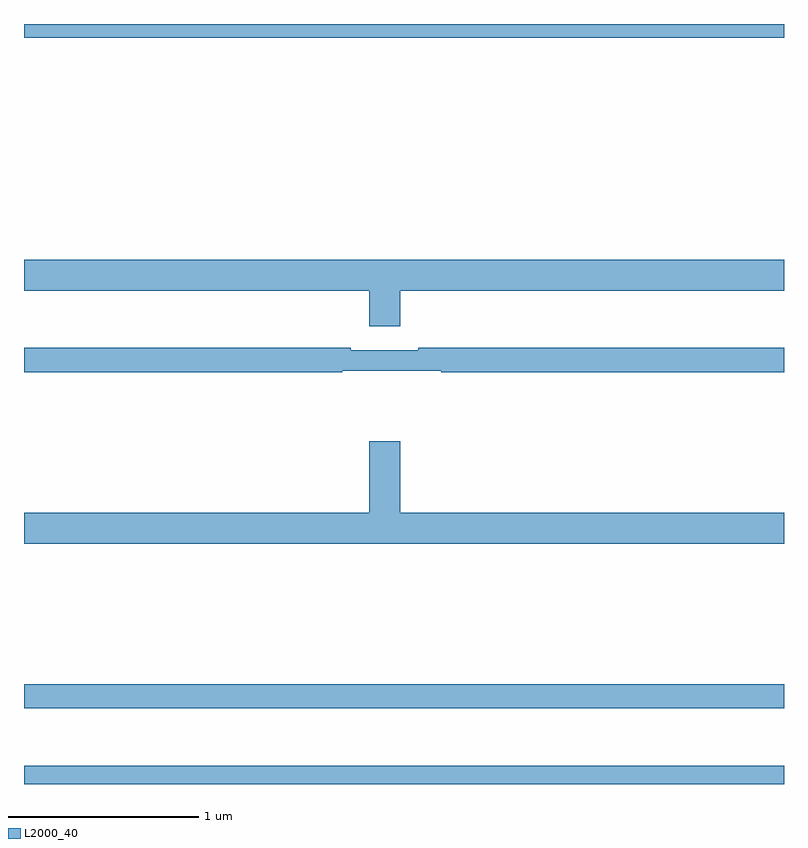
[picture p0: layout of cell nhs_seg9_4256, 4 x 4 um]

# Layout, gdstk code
import gdstk
lib = gdstk.Library(unit=1e-6, precision=1e-09)
def R(c, l, rs):  # rectangles x0, y0, x1, y1
    for r in rs: c.add(gdstk.rectangle(r[:2], r[2:], *l))
def P(c, l, *ps):  # polygons
    for p in ps: c.add(gdstk.Polygon(p, *l))
L2000_40 = (2000, 40)

nhs_seg9_4256 = lib.new_cell('nhs_seg9_4256')
R(nhs_seg9_4256, L2000_40, [(355,1184.5,359,1184.596), (355,1184.898,359,1185.026), (355,1188.428,359,1188.5)])
P(nhs_seg9_4256, L2000_40, [(356.98,1187.096),(359,1187.096),(359,1187.26),(355,1187.26),(355,1187.096),(356.816,1187.096),(356.816,1186.908),(356.98,1186.908)],
  [(356.676,1186.674),(357.196,1186.674),(357.196,1186.666),(359,1186.666),(359,1186.795),(357.076,1186.795),(357.076,1186.782),(356.72,1186.782),(356.72,1186.795),(355,1186.795),(355,1186.666),(356.676,1186.666)],
  [(359,1185.928),(356.98,1185.928),(356.98,1186.303),(356.816,1186.303),(356.816,1185.928),(355,1185.928),(355,1185.764),(359,1185.764)])

lib.write_gds('nhs_seg9_4256.gds')
